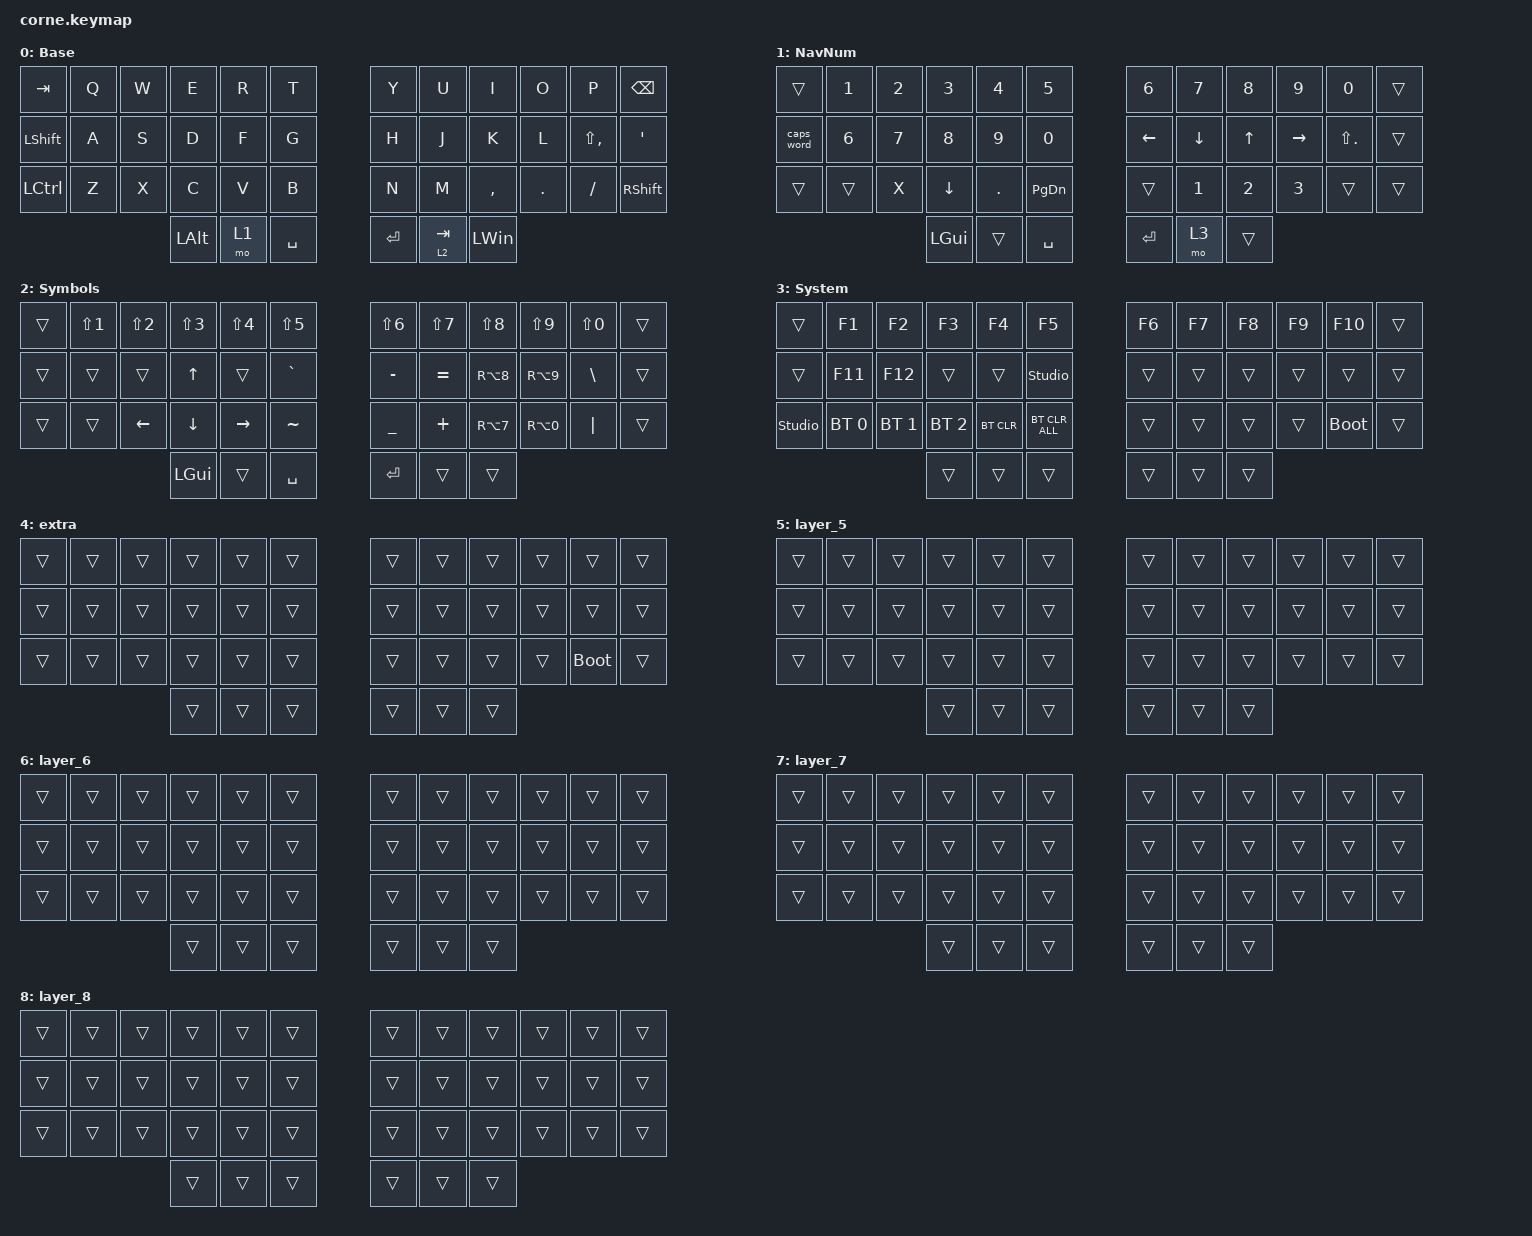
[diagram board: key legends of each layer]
#include <behaviors.dtsi>
#include <dt-bindings/zmk/bt.h>
#include <dt-bindings/zmk/keys.h>

#define DEF 0
#define NAV 1
#define SYM 2
#define ADJ 3
#define EXTRA 4

/ {
    behaviors {
        hm: homerow_mods {
            compatible = "zmk,behavior-hold-tap";
            label = "HOMEROW_MODS";
            #binding-cells = <2>;
            tapping-term-ms = <200>;
            quick_tap_ms = <0>;
            flavor = "tap-preferred";
            bindings = <&kp>, <&kp>;

            quick-tap-ms = <180>;
            global-quick-tap;
        };

        para: para {
            compatible = "zmk,behavior-tap-dance";
            label = "PARA";
            #binding-cells = <0>;
            bindings = <&kp LEFT_PARENTHESIS>, <&kp RIGHT_PARENTHESIS>;
        };

        caps: caps {
            compatible = "zmk,behavior-caps-word";
            label = "CAPS";
            #binding-cells = <0>;
            continue-list = <MINUS BACKSPACE>;
        };

        paraless: paraless {
            compatible = "zmk,behavior-mod-morph";
            label = "PARALESS";
            bindings = <&kp LEFT_PARENTHESIS>, <&kp LESS_THAN>;

            #binding-cells = <0>;
            mods = <(MOD_LSFT)>;
        };

        paragreat: paragreat {
            compatible = "zmk,behavior-mod-morph";
            label = "PARAGREAT";
            bindings = <&kp RIGHT_PARENTHESIS>, <&kp GREATER_THAN>;

            #binding-cells = <0>;
            mods = <(MOD_LSFT)>;
        };
    };

    macros {
        browsertab: browsertab {
            compatible = "zmk,behavior-macro";
            #binding-cells = <0>;
            bindings =
                <&macro_press>,
                <&kp LCTRL>,
                <&macro_tap>,
                <&kp TAB>,
                <&macro_release>,
                <&kp LCTRL>;
        };
    };

    combos {
        compatible = "zmk,combos";

        escape {
            bindings = <&kp ESCAPE>;
            key-positions = <13 29>;
        };

        delete {
            bindings = <&kp DELETE>;
            key-positions = <15 21>;
        };

        perc {
            bindings = <&kp PERCENT>;
            key-positions = <5 17>;
        };

        equal {
            bindings = <&kp EQUAL>;
            key-positions = <28 16>;
        };

        dollar {
            bindings = <&kp DOLLAR>;
            key-positions = <4 16>;
        };

        pound {
            bindings = <&kp POUND>;
            key-positions = <3 15>;
        };

        at {
            bindings = <&kp AT>;
            key-positions = <2 14>;
        };

        backslash {
            bindings = <&kp BACKSLASH>;
            key-positions = <26 14>;
        };

        copy {
            bindings = <&kp K_COPY>;
            key-positions = <28 27>;
        };

        paste {
            bindings = <&kp K_PASTE>;
            key-positions = <26 27>;
        };

        star {
            bindings = <&kp STAR>;
            key-positions = <8 20>;
        };

        slash {
            bindings = <&kp SLASH>;
            key-positions = <32 20>;
        };

        plus {
            bindings = <&kp PLUS>;
            key-positions = <7 19>;
        };

        minus {
            bindings = <&kp KP_MINUS>;
            key-positions = <31 19>;
        };

        underscore {
            bindings = <&kp UNDER>;
            key-positions = <30 18>;
        };

        leftbrack {
            bindings = <&kp LEFT_BRACKET>;
            key-positions = <31 32>;
        };

        rightbrack {
            bindings = <&kp RIGHT_BRACKET>;
            key-positions = <33 32>;
        };

        para-less {
            bindings = <&paraless>;
            key-positions = <20 19>;
        };

        para-great {
            bindings = <&paragreat>;
            key-positions = <20 21>;
        };
    };

    //

    keymap {
        compatible = "zmk,keymap";

        DEF {
            display-name = "Base";

            // -----------------------------------------------------------------------------------------
            // |  Q  |  W  |  E  |  R  |  T  |   |  Y  |  U   |  I  |  O  |  P  |
            // |  A  |  S  |  D  |  F  |  G  |   |  H  |  J   |  K  |  L  |  ;  |
            // |  Z  |  X  |  C  |  V  |  B  |   |  N  |  M   |  ,  |  .  |  /  |
            // | GUI | CTRL | SHFT | LWR | SPC |   | ENT | RSE  | BKSP | ALT | ESC |

            bindings = <
&kp TAB    &kp Q  &kp W  &kp E         &kp R  &kp T        &kp Y    &kp U      &kp I         &kp O    &kp P          &kp BACKSPACE
&kp LSHFT  &kp A  &kp S  &kp D         &kp F  &kp G        &kp H    &kp J      &kp K         &kp L    &kp LS(COMMA)  &kp SQT
&kp LCTRL  &kp Z  &kp X  &kp C         &kp V  &kp B        &kp N    &kp M      &kp COMMA     &kp DOT  &kp FSLH       &kp RSHFT
                         &kp LEFT_ALT  &mo 1  &kp SPACE    &kp RET  &lt 2 TAB  &kp LEFT_WIN
            >;
        };

        NAV {
            display-name = "NavNum";

            // -----------------------------------------------------------------------------------------
            // |  TAB |  1  |  2  |  3  |  4  |  5  |   |  6  |  7  |  8  |  9  |  0  | BKSP |
            // | BTCLR| BT1 | BT2 | BT3 | BT4 | BT5 |   | LFT | DWN |  UP | RGT |     |      |
            // | SHFT |     |     |     |     |     |   |     |     |     |     |     |      |
            // | GUI | CTRL | SHFT | LWR | SPC |   | ENT | RSE  | BKSP | ALT | ESC |

            bindings = <
&trans      &kp N1        &kp N2  &kp N3    &kp N4   &kp N5           &kp N6    &kp N7    &kp N8        &kp N9     &kp N0       &trans
&caps_word  &kp NUMBER_6  &kp N7  &kp N8    &kp N9   &kp N0           &kp LEFT  &kp DOWN  &kp UP_ARROW  &kp RIGHT  &kp LS(DOT)  &trans
&trans      &trans        &kp X   &kp DOWN  &kp DOT  &kp PAGE_DOWN    &trans    &kp N1    &kp N2        &kp N3     &trans       &trans
                                  &kp LGUI  &trans   &kp SPACE        &kp RET   &mo 3     &trans
            >;
        };

        SYM {
            display-name = "Symbols";

            // -----------------------------------------------------------------------------------------
            // |  TAB |  !  |  @  |  #  |  $  |  %  |   |  ^  |  &  |  *  |  (  |  )  | BKSP |
            // | CTRL |     |     |     |     |     |   |  -  |  =  |  [  |  ]  |  \  |  `   |
            // | SHFT |     |     |     |     |     |   |  _  |  +  |  {  |  }  | "|" |  ~   |
            //                    | GUI |     | SPC |   | ENT |     | ALT |

            bindings = <
&trans  &kp LS(N1)  &kp LS(N2)      &kp LS(N3)      &kp LS(N4)       &kp LS(N5)    &kp LS(N6)  &kp LS(N7)  &kp LS(N8)  &kp LS(N9)  &kp LS(N0)  &trans
&trans  &trans      &trans          &kp UP_ARROW    &trans           &kp GRAVE     &kp MINUS   &kp EQUAL   &kp RA(N8)  &kp RA(N9)  &kp BSLH    &trans
&trans  &trans      &kp LEFT_ARROW  &kp DOWN_ARROW  &kp RIGHT_ARROW  &kp TILDE     &kp UNDER   &kp PLUS    &kp RA(N7)  &kp RA(N0)  &kp PIPE    &trans
                                    &kp LGUI        &trans           &kp SPACE     &kp RET     &trans      &trans
            >;
        };

        ADJ {
            display-name = "System";
            bindings = <
&trans          &kp F1        &kp F2        &kp F3        &kp F4      &kp F5            &kp F6  &kp F7  &kp F8  &kp F9  &kp F10      &trans
&trans          &kp F11       &kp F12       &trans        &trans      &studio_unlock    &trans  &trans  &trans  &trans  &trans       &trans
&studio_unlock  &bt BT_SEL 0  &bt BT_SEL 1  &bt BT_SEL 2  &bt BT_CLR  &bt BT_CLR_ALL    &trans  &trans  &trans  &trans  &bootloader  &trans
                                            &trans        &trans      &trans            &trans  &trans  &trans
            >;
        };

        EXTRA {
            display-name = "extra";
            bindings = <
&trans  &trans  &trans  &trans  &trans  &trans    &trans  &trans  &trans  &trans  &trans       &trans
&trans  &trans  &trans  &trans  &trans  &trans    &trans  &trans  &trans  &trans  &trans       &trans
&trans  &trans  &trans  &trans  &trans  &trans    &trans  &trans  &trans  &trans  &bootloader  &trans
                        &trans  &trans  &trans    &trans  &trans  &trans
            >;
        };

        layer_5 {
            bindings = <
&trans  &trans  &trans  &trans  &trans  &trans    &trans  &trans  &trans  &trans  &trans  &trans
&trans  &trans  &trans  &trans  &trans  &trans    &trans  &trans  &trans  &trans  &trans  &trans
&trans  &trans  &trans  &trans  &trans  &trans    &trans  &trans  &trans  &trans  &trans  &trans
                        &trans  &trans  &trans    &trans  &trans  &trans
            >;
        };

        layer_6 {
            bindings = <
&trans  &trans  &trans  &trans  &trans  &trans    &trans  &trans  &trans  &trans  &trans  &trans
&trans  &trans  &trans  &trans  &trans  &trans    &trans  &trans  &trans  &trans  &trans  &trans
&trans  &trans  &trans  &trans  &trans  &trans    &trans  &trans  &trans  &trans  &trans  &trans
                        &trans  &trans  &trans    &trans  &trans  &trans
            >;
        };

        layer_7 {
            bindings = <
&trans  &trans  &trans  &trans  &trans  &trans    &trans  &trans  &trans  &trans  &trans  &trans
&trans  &trans  &trans  &trans  &trans  &trans    &trans  &trans  &trans  &trans  &trans  &trans
&trans  &trans  &trans  &trans  &trans  &trans    &trans  &trans  &trans  &trans  &trans  &trans
                        &trans  &trans  &trans    &trans  &trans  &trans
            >;
        };

        layer_8 {
            bindings = <
&trans  &trans  &trans  &trans  &trans  &trans    &trans  &trans  &trans  &trans  &trans  &trans
&trans  &trans  &trans  &trans  &trans  &trans    &trans  &trans  &trans  &trans  &trans  &trans
&trans  &trans  &trans  &trans  &trans  &trans    &trans  &trans  &trans  &trans  &trans  &trans
                        &trans  &trans  &trans    &trans  &trans  &trans
            >;
        };
    };

    conditional_layers {
        compatible = "zmk,conditional-layers";

        l3 {
            if-layers = <1 2>;
            then-layer = <3>;
        };
    };
};
